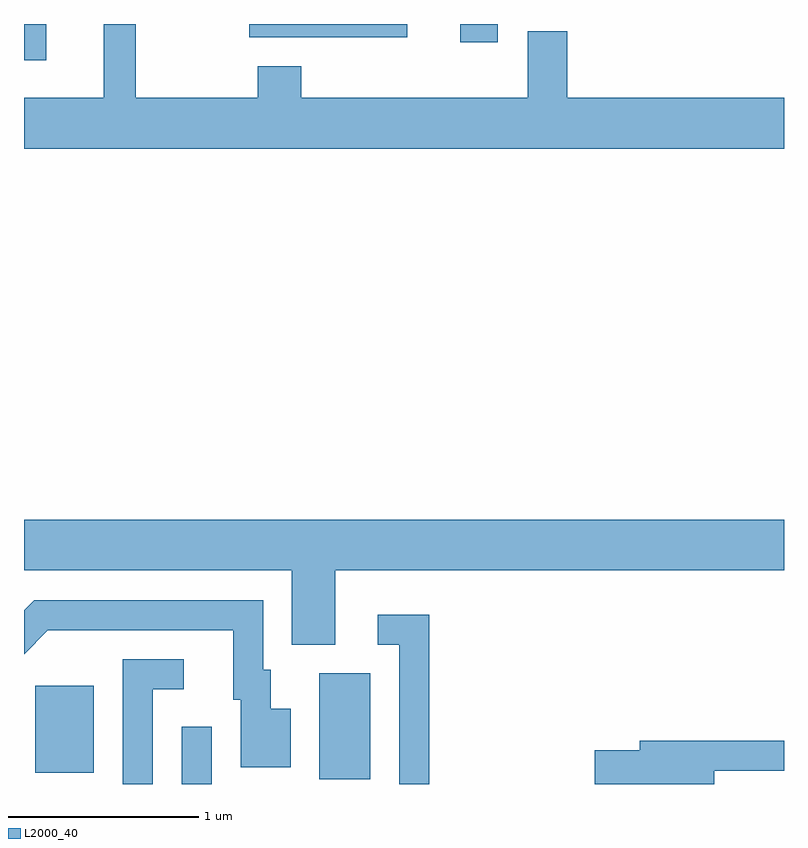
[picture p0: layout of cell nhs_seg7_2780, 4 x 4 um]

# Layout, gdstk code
import gdstk
lib = gdstk.Library(unit=1e-6, precision=1e-09)
def R(c, l, rs):  # rectangles x0, y0, x1, y1
    for r in rs: c.add(gdstk.rectangle(r[:2], r[2:], *l))
def P(c, l, *ps):  # polygons
    for p in ps: c.add(gdstk.Polygon(p, *l))
L2000_40 = (2000, 40)

nhs_seg7_2780 = lib.new_cell('nhs_seg7_2780')
R(nhs_seg7_2780, L2000_40, [(270.441,1764.252,270.599,1764.553), (271.166,1764.276,271.434,1764.834), (269.671,1764.311,269.979,1764.769), (269.611,1768.061,269.729,1768.252), (271.906,1768.156,272.104,1768.252), (270.796,1768.181,271.628,1768.252)])
P(nhs_seg7_2780, L2000_40, [(273.611,1767.864),(272.469,1767.864),(272.469,1768.214),(272.261,1768.214),(272.261,1767.864),(271.069,1767.864),(271.069,1768.029),(270.841,1768.029),(270.841,1767.864),(270.199,1767.864),(270.199,1768.252),(270.031,1768.252),(270.031,1767.864),(269.611,1767.864),(269.611,1767.596),(273.611,1767.596)],
  [(271.249,1765.376),(273.611,1765.376),(273.611,1765.644),(269.611,1765.644),(269.611,1765.376),(271.021,1765.376),(271.021,1764.986),(271.249,1764.986)],
  [(271.014,1764.649),(270.909,1764.649),(270.909,1764.854),(270.869,1764.854),(270.869,1765.219),(269.664,1765.219),(269.611,1765.166),(269.611,1764.936),(269.737,1765.061),(270.711,1765.061),(270.711,1764.696),(270.751,1764.696),(270.751,1764.341),(271.014,1764.341)],
  [(271.744,1765.144),(271.473,1765.144),(271.473,1764.986),(271.586,1764.986),(271.586,1764.252),(271.744,1764.252)],
  [(270.289,1764.751),(270.453,1764.751),(270.453,1764.909),(270.131,1764.909),(270.131,1764.252),(270.289,1764.252)],
  [(273.244,1764.321),(273.611,1764.321),(273.611,1764.479),(272.851,1764.479),(272.851,1764.429),(272.616,1764.429),(272.616,1764.252),(273.244,1764.252)])

lib.write_gds('nhs_seg7_2780.gds')
